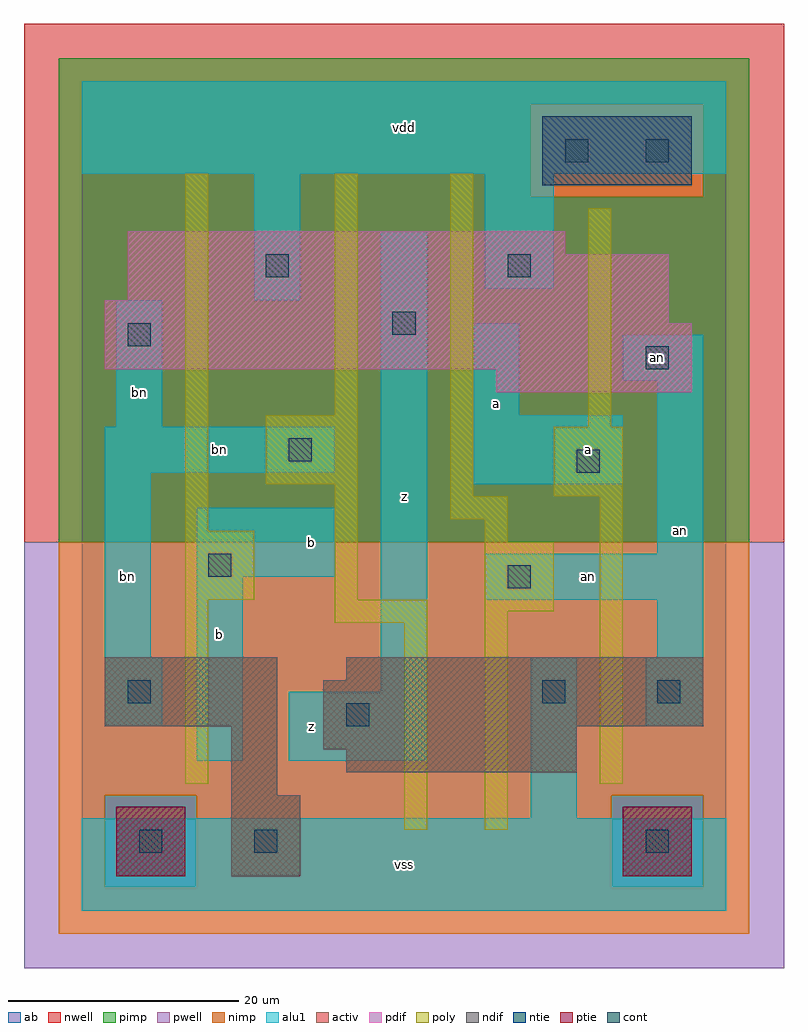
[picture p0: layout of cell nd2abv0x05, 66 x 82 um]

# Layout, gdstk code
import gdstk
lib = gdstk.Library(unit=1e-6, precision=1e-09)
def R(c, l, rs):  # rectangles x0, y0, x1, y1
    for r in rs: c.add(gdstk.rectangle(r[:2], r[2:], *l))
ndif = (3, 0)
pdif = (4, 0)
ntie = (5, 0)
ptie = (6, 0)
cont = (25, 0)
pwell = (41, 0)
nwell = (42, 0)
activ = (43, 0)
pimp = (44, 0)
nimp = (45, 0)
poly = (46, 0)
alu1 = (49, 0)
ab = (63, 0)

nd2abv0x05 = lib.new_cell('nd2abv0x05')
R(nd2abv0x05, ndif, [(13,3,19,10), (13,10,17,16), (23,12,43,14), (21,14,43,16), (2,16,17,22), (21,16,54,20), (23,20,54,22)])
R(nd2abv0x05, pdif, [(36,45,53,47), (2,47,53,51), (2,51,51,53), (4,53,51,57), (4,57,42,59)])
R(nd2abv0x05, ntie, [(40,63,53,69)])
R(nd2abv0x05, ptie, [(3,3,9,9), (47,3,53,9)])
R(nd2abv0x05, cont, [(5,5,7,7), (15,5,17,7), (49,5,51,7), (23,16,25,18), (4,18,6,20), (40,18,42,20), (50,18,52,20), (37,28,39,30), (11,29,13,31), (43,38,45,40), (18,39,20,41), (49,47,51,49), (4,49,6,51), (27,50,29,52), (16,55,18,57), (37,55,39,57), (42,65,44,67), (49,65,51,67)])
R(nd2abv0x05, pwell, [(-5,-5,61,32)])
R(nd2abv0x05, nwell, [(-5,32,61,77)])
R(nd2abv0x05, activ, [(3,3,9,9), (13,3,19,10), (47,3,53,9), (13,10,17,16), (23,12,43,14), (21,14,43,16), (2,16,17,22), (21,16,54,20), (23,20,54,22), (36,45,53,47), (2,47,53,51), (2,51,51,53), (4,53,51,57), (4,57,42,59), (40,63,53,69)])
R(nd2abv0x05, pimp, [(2,2,10,10), (46,2,54,10), (-2,32,58,62), (-2,62,39,70), (54,62,58,70), (-2,70,58,74)])
R(nd2abv0x05, nimp, [(-2,-2,58,2), (-2,2,2,10), (10,2,46,10), (54,2,58,10), (-2,10,58,32), (39,62,54,70)])
R(nd2abv0x05, poly, [(28,7,30,25), (35,7,37,26), (9,11,11,27), (45,11,47,36), (22,25,30,27), (35,26,41,32), (9,27,15,33), (22,27,24,37), (35,32,37,34), (9,33,11,64), (32,34,37,36), (32,36,34,64), (41,36,47,42), (16,37,24,43), (44,42,46,61), (22,43,24,64)])
R(nd2abv0x05, alu1, [(0,0,56,8), (39,8,43,22), (10,13,14,29), (18,13,30,19), (2,16,7,22), (49,16,54,22), (26,19,30,59), (2,22,6,38), (50,22,54,27), (35,27,54,31), (10,29,22,35), (50,31,54,46), (34,37,47,43), (2,38,22,42), (3,42,7,53), (34,43,38,51), (47,46,54,50), (15,53,19,64), (35,54,41,64), (0,64,56,72)])
R(nd2abv0x05, ab, [(0,0,56,72)])
nd2abv0x05.add(gdstk.Label('bn', (4,29), layer=49, texttype=0))
nd2abv0x05.add(gdstk.Label('bn', (5,45), layer=49, texttype=0))
nd2abv0x05.add(gdstk.Label('bn', (12,40), layer=49, texttype=0))
nd2abv0x05.add(gdstk.Label('an', (44,29), layer=49, texttype=0))
nd2abv0x05.add(gdstk.Label('an', (50,48), layer=49, texttype=0))
nd2abv0x05.add(gdstk.Label('an', (52,33), layer=49, texttype=0))
nd2abv0x05.add(gdstk.Label('z', (20,16), layer=49, texttype=0))
nd2abv0x05.add(gdstk.Label('b', (12,24), layer=49, texttype=0))
nd2abv0x05.add(gdstk.Label('b', (20,32), layer=49, texttype=0))
nd2abv0x05.add(gdstk.Label('vss', (28,4), layer=49, texttype=0))
nd2abv0x05.add(gdstk.Label('z', (28,36), layer=49, texttype=0))
nd2abv0x05.add(gdstk.Label('a', (36,44), layer=49, texttype=0))
nd2abv0x05.add(gdstk.Label('vdd', (28,68), layer=49, texttype=0))
nd2abv0x05.add(gdstk.Label('a', (44,40), layer=49, texttype=0))

lib.write_gds('nd2abv0x05.gds')
